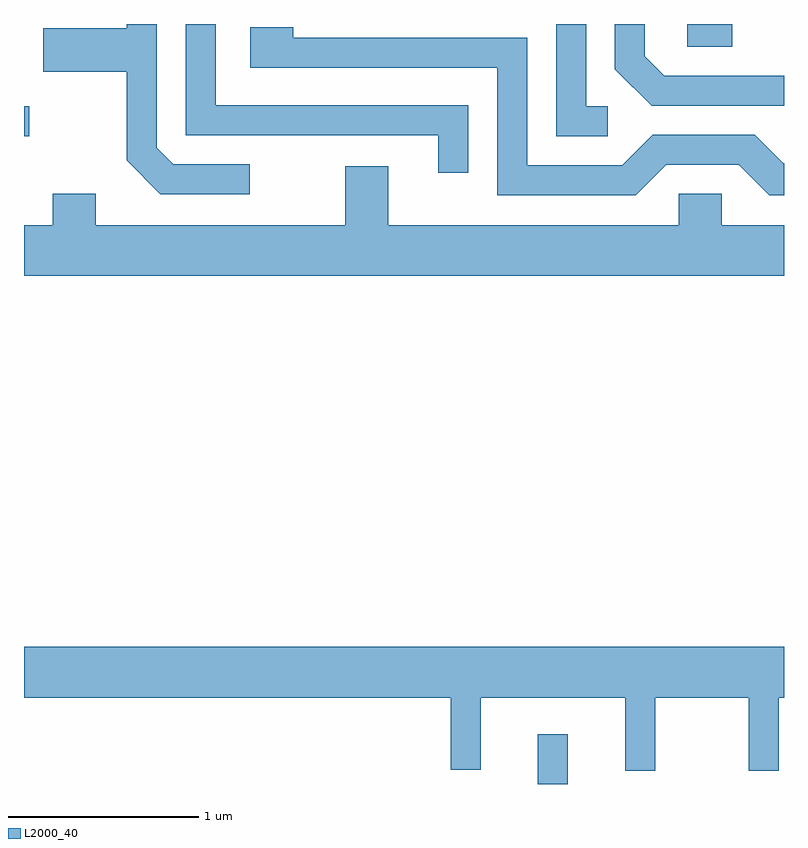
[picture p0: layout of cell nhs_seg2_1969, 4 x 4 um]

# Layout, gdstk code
import gdstk
lib = gdstk.Library(unit=1e-6, precision=1e-09)
def R(c, l, rs):  # rectangles x0, y0, x1, y1
    for r in rs: c.add(gdstk.rectangle(r[:2], r[2:], *l))
def P(c, l, *ps):  # polygons
    for p in ps: c.add(gdstk.Polygon(p, *l))
L2000_40 = (2000, 40)

nhs_seg2_1969 = lib.new_cell('nhs_seg2_1969')
R(nhs_seg2_1969, L2000_40, [(244.316,1107.802,244.474,1108.063), (241.611,1111.211,241.638,1111.369), (245.101,1111.681,245.339,1111.802)])
P(nhs_seg2_1969, L2000_40, [(243.949,1111.374),(242.619,1111.374),(242.619,1111.802),(242.461,1111.802),(242.461,1111.216),(243.791,1111.216),(243.791,1111.018),(243.949,1111.018)],
  [(244.683,1111.369),(244.569,1111.369),(244.569,1111.802),(244.411,1111.802),(244.411,1111.211),(244.683,1111.211)],
  [(242.798,1111.064),(242.397,1111.064),(242.309,1111.152),(242.309,1111.802),(242.151,1111.802),(242.151,1111.779),(241.711,1111.779),(241.711,1111.551),(242.151,1111.551),(242.151,1111.084),(242.329,1110.906),(242.798,1110.906)],
  [(245.611,1111.529),(244.982,1111.529),(244.879,1111.632),(244.879,1111.802),(244.721,1111.802),(244.721,1111.564),(244.914,1111.371),(245.611,1111.371)],
  [(244.992,1111.061),(245.374,1111.061),(245.534,1110.901),(245.611,1110.901),(245.611,1111.069),(245.607,1111.069),(245.457,1111.219),(244.919,1111.219),(244.759,1111.059),(244.259,1111.059),(244.259,1111.729),(243.029,1111.729),(243.029,1111.784),(242.801,1111.784),(242.801,1111.571),(244.101,1111.571),(244.101,1110.901),(244.832,1110.901)],
  [(245.611,1110.744),(245.284,1110.744),(245.284,1110.909),(245.056,1110.909),(245.056,1110.744),(243.529,1110.744),(243.529,1111.054),(243.301,1111.054),(243.301,1110.744),(241.989,1110.744),(241.989,1110.909),(241.761,1110.909),(241.761,1110.744),(241.611,1110.744),(241.611,1110.476),(245.611,1110.476)],
  [(241.611,1108.256),(243.856,1108.256),(243.856,1107.878),(244.014,1107.878),(244.014,1108.256),(244.776,1108.256),(244.776,1107.873),(244.934,1107.873),(244.934,1108.256),(245.426,1108.256),(245.426,1107.873),(245.584,1107.873),(245.584,1108.256),(245.611,1108.256),(245.611,1108.524),(241.611,1108.524)])

lib.write_gds('nhs_seg2_1969.gds')
